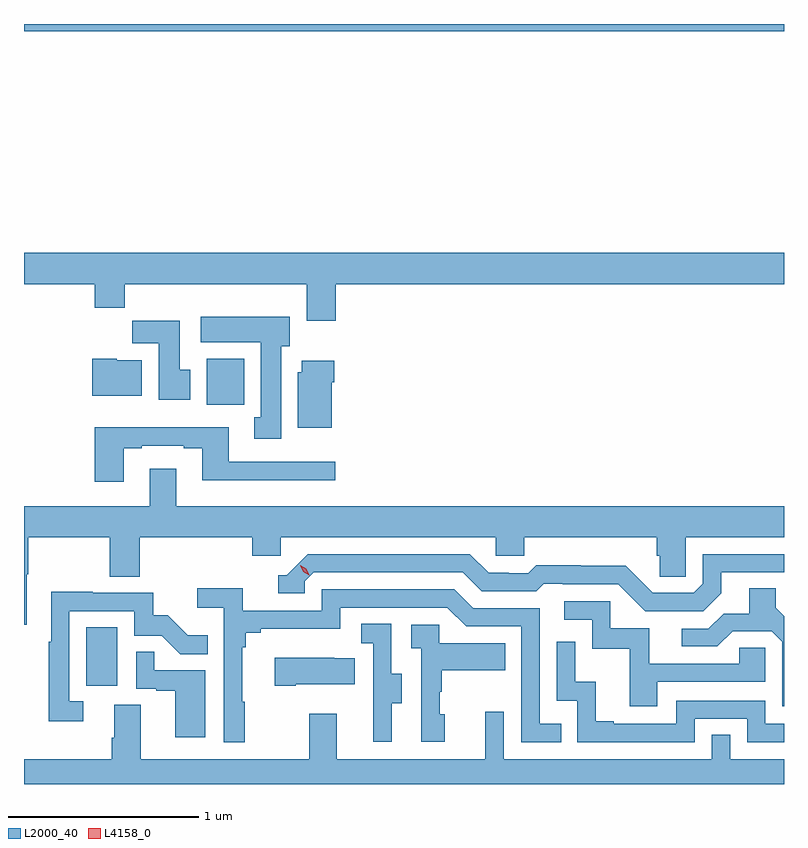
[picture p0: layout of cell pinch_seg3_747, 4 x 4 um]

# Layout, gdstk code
import gdstk
lib = gdstk.Library(unit=1e-6, precision=1e-09)
def R(c, l, rs):  # rectangles x0, y0, x1, y1
    for r in rs: c.add(gdstk.rectangle(r[:2], r[2:], *l))
def P(c, l, *ps):  # polygons
    for p in ps: c.add(gdstk.Polygon(p, *l))
L2000_40 = (2000, 40)
L4158_0 = (4158, 0)

pinch_seg3_747 = lib.new_cell('pinch_seg3_747')
R(pinch_seg3_747, L2000_40, [(841.088,742.758,841.252,743.065), (841.721,744.236,841.918,744.478), (840.76,746.204,844.76,746.241)])
P(pinch_seg3_747, L2000_40, [(842.402,744.872),(844.76,744.872),(844.76,745.036),(840.76,745.036),(840.76,744.872),(841.133,744.872),(841.133,744.748),(841.289,744.748),(841.289,744.872),(842.249,744.872),(842.249,744.678),(842.402,744.678)],
  [(842.113,744.546),(842.158,744.546),(842.158,744.7),(841.689,744.7),(841.689,744.566),(842.006,744.566),(842.006,744.17),(841.973,744.17),(841.973,744.057),(842.113,744.057)],
  [(841.636,744.42),(841.579,744.42),(841.579,744.679),(841.33,744.679),(841.33,744.56),(841.469,744.56),(841.469,744.264),(841.636,744.264)],
  [(841.381,744.472),(841.248,744.472),(841.248,744.478),(841.118,744.478),(841.118,744.284),(841.381,744.284)],
  [(842.38,744.356),(842.393,744.356),(842.393,744.469),(842.222,744.469),(842.222,744.408),(842.201,744.408),(842.201,744.116),(842.38,744.116)],
  [(841.285,744.009),(841.381,744.009),(841.381,744.021),(841.601,744.021),(841.601,744.009),(841.697,744.009),(841.697,743.84),(842.398,743.84),(842.398,743.937),(841.837,743.937),(841.837,744.118),(841.133,744.118),(841.133,743.832),(841.285,743.832)],
  [(840.775,743.344),(840.783,743.344),(840.783,743.54),(841.21,743.54),(841.21,743.332),(841.37,743.332),(841.37,743.54),(841.961,743.54),(841.961,743.442),(842.112,743.442),(842.112,743.54),(843.243,743.54),(843.243,743.442),(843.393,743.442),(843.393,743.54),(844.091,743.54),(844.091,743.442),(844.105,743.442),(844.105,743.332),(844.242,743.332),(844.242,743.54),(844.76,743.54),(844.76,743.704),(841.561,743.704),(841.561,743.899),(841.421,743.899),(841.421,743.704),(840.76,743.704),(840.76,743.079),(840.775,743.079)],
  [(844.429,743.245),(844.429,743.355),(844.76,743.355),(844.76,743.451),(844.332,743.451),(844.332,743.295),(844.284,743.247),(844.068,743.247),(843.926,743.389),(843.69,743.389),(843.69,743.392),(843.457,743.392),(843.415,743.349),(843.312,743.349),(843.312,743.352),(843.205,743.352),(843.106,743.451),(842.253,743.451),(842.142,743.34),(842.099,743.34),(842.099,743.244),(842.238,743.244),(842.238,743.307),(842.286,743.355),(843.069,743.355),(843.168,743.256),(843.457,743.256),(843.496,743.295),(843.595,743.295),(843.595,743.292),(843.888,743.292),(844.029,743.151),(844.335,743.151)],
  [(841.921,742.673),(841.909,742.673),(841.909,742.961),(841.928,742.961),(841.928,743.038),(842.005,743.038),(842.005,743.057),(842.424,743.057),(842.424,743.169),(842.988,743.169),(843.087,743.07),(843.378,743.07),(843.378,742.461),(843.587,742.461),(843.587,742.557),(843.474,742.557),(843.474,743.166),(843.124,743.166),(843.025,743.265),(842.328,743.265),(842.328,743.154),(841.91,743.154),(841.91,743.27),(841.671,743.27),(841.671,743.168),(841.812,743.168),(841.812,742.461),(841.921,742.461)],
  [(844.76,743.125),(844.717,743.168),(844.717,743.27),(844.577,743.27),(844.577,743.138),(844.442,743.138),(844.362,743.058),(844.221,743.058),(844.221,742.965),(844.408,742.965),(844.489,743.046),(844.695,743.046),(844.752,742.989),(844.752,742.65),(844.76,742.65)],
  [(841.072,742.677),(840.999,742.677),(840.999,743.151),(841.341,743.151),(841.341,743.022),(841.485,743.022),(841.583,742.924),(841.727,742.924),(841.727,743.023),(841.623,743.023),(841.516,743.13),(841.44,743.13),(841.44,743.247),(841.121,743.247),(841.121,743.252),(840.903,743.252),(840.903,742.991),(840.891,742.991),(840.891,742.572),(841.072,742.572)],
  [(844.093,742.779),(844.662,742.779),(844.662,742.959),(844.525,742.959),(844.525,742.875),(844.051,742.875),(844.051,743.061),(843.846,743.061),(843.846,743.202),(843.603,743.202),(843.603,743.106),(843.75,743.106),(843.75,742.953),(843.949,742.953),(843.949,742.65),(844.093,742.65)],
  [(842.695,742.666),(842.749,742.666),(842.749,742.821),(842.694,742.821),(842.694,743.084),(842.535,743.084),(842.535,742.981),(842.598,742.981),(842.598,742.677),(842.597,742.677),(842.597,742.464),(842.695,742.464)],
  [(842.974,742.608),(842.949,742.608),(842.949,742.727),(842.959,742.727),(842.959,742.841),(843.293,742.841),(843.293,742.981),(842.946,742.981),(842.946,743.079),(842.799,743.079),(842.799,742.955),(842.85,742.955),(842.85,742.464),(842.974,742.464)],
  [(844.29,742.584),(844.566,742.584),(844.566,742.461),(844.76,742.461),(844.76,742.557),(844.662,742.557),(844.662,742.68),(844.194,742.68),(844.194,742.557),(843.865,742.557),(843.865,742.57),(843.77,742.57),(843.77,742.778),(843.66,742.778),(843.66,742.99),(843.564,742.99),(843.564,742.68),(843.672,742.68),(843.672,742.461),(844.29,742.461)],
  [(841.714,742.839),(841.445,742.839),(841.445,742.937),(841.35,742.937),(841.35,742.743),(841.457,742.743),(841.457,742.731),(841.556,742.731),(841.556,742.488),(841.714,742.488)],
  [(842.191,742.766),(842.501,742.766),(842.501,742.903),(842.393,742.903),(842.393,742.906),(842.079,742.906),(842.079,742.759),(842.191,742.759)],
  [(844.76,742.372),(844.476,742.372),(844.476,742.499),(844.38,742.499),(844.38,742.372),(843.285,742.372),(843.285,742.621),(843.188,742.621),(843.188,742.372),(842.407,742.372),(842.407,742.612),(842.26,742.612),(842.26,742.372),(841.375,742.372),(841.375,742.658),(841.235,742.658),(841.235,742.484),(841.223,742.484),(841.223,742.372),(840.76,742.372),(840.76,742.241),(844.76,742.241)])
P(pinch_seg3_747, L4158_0, [(842.261,743.34),(842.23,743.359),(842.214,743.392),(842.214,743.392),(842.214,743.392),(842.245,743.373),(842.261,743.34),(842.261,743.34)])

lib.write_gds('pinch_seg3_747.gds')
